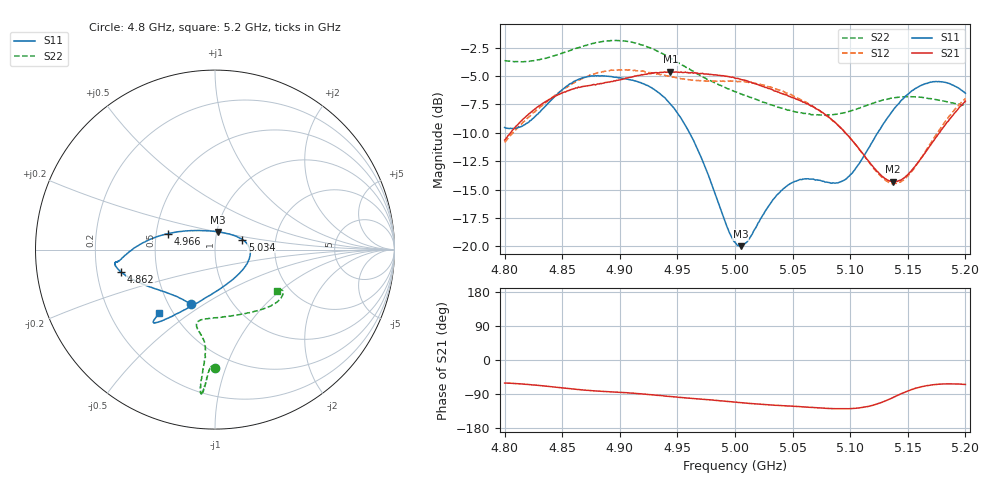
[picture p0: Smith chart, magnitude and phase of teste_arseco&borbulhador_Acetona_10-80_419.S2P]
! Network Analyzer HP8722D
! Hewlett-Packard
! Data name: Linha & Wilkinson
! Saver's name: Rodrigo Anjos
! Comments: Teste da utilização de aquisição
! continua pelo VNA HP8722D
! Time and date: 17/4/2025 17:51
!  Frequency  S11  S21  S12  S22
# HZ  S  MA R 50
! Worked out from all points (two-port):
!   401 points, 4.8 GHz to 5.2 GHz, reference 50 ohm
!   highest |S21| = -4.63 dB at 4.944 GHz (marker M1); lowest = -14.3 dB at 5.137 GHz (marker M2)
!   |S21| within 3 dB of the highest: 4.83 GHz to 5.066 GHz (235.5 MHz wide, 4.76 % of centre); 5.196109 GHz to end of sweep
!   lowest |S11| = -20.0 dB at 5.005 GHz (marker M3), VSWR 1.22, Z = 50.5 + j10.1 ohm
!   |S11| at or under -10 dB: 4.961 GHz to 5.124 GHz (163.4 MHz wide, 3.24 % of centre)
!   |S22| runs from -8.5 to -1.9 dB; largest |S21 - S12| = 0.88
!   S11 on the Smith chart (normalised r, x): 4.8 GHz: 0.64, -0.44; 4.862 GHz: 0.31, -0.11; 4.966 GHz: 0.57, +0.11; 5.034 GHz: 1.35, +0.15; 5.2 GHz: 0.42, -0.39
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4.8e9  0.3336 -113.7  0.2937 -60.9  0.287 -175.1  0.6574 -90.1
4.819e9  0.3479 -133.8  0.375 -64.2  0.3629 -173.8  0.6527 -91.8
4.862e9  0.5372 -166.4  0.4988 -77.4  0.5319 -177.1  0.7447 -94.0
4.867e9  0.5502 -168.4  0.5048 -78.7  0.5472 -178.0  0.7588 -94.2
4.901e9  0.551 -172.8  0.5427 -85.5  0.5977 175.2  0.8064 -95.6
4.934e9  0.474 -178.9  0.5805 -93.6  0.5728 171.8  0.7175 -96.0
4.944e9  0.4234 176.5  0.5869 -96.5  0.5589 171.8  0.6747 -95.8
4.966e9  0.2786 161.5  0.579 -102.1  0.5371 173.6  0.5803 -95.3
5e9  0.1042 98.4  0.5504 -111.2  0.5333 176.2  0.4796 -99.4
5.005e9  0.1001 81.3  0.5437 -112.5  0.5318 176.0  0.4691 -100.5
5.012e9  0.1073 59.4  0.5307 -114.5  0.5265 175.8  0.4556 -102.0
5.034e9  0.1626 20.1  0.4832 -119.4  0.4976 174.7  0.4155 -103.6
5.05e9  0.1911 4.1  0.4521 -122.0  0.4609 174.0  0.3946 -99.6
5.067e9  0.1979 -14.1  0.4138 -125.1  0.4165 173.5  0.38 -90.7
5.086e9  0.1899 -44.6  0.3553 -128.5  0.3537 173.5  0.3805 -76.1
5.097e9  0.1988 -67.2  0.3113 -128.7  0.3118 174.6  0.3901 -67.1
5.134e9  0.378 -117.1  0.1941 -103.5  0.1907 -156.4  0.447 -43.0
5.137e9  0.3959 -118.8  0.1925 -99.4  0.1894 -151.5  0.4501 -41.7
5.15e9  0.4671 -124.8  0.2065 -81.9  0.2041 -131.5  0.4559 -36.7
5.17e9  0.5286 -129.4  0.2802 -66.0  0.2847 -112.3  0.447 -32.1
5.184e9  0.5245 -130.7  0.3516 -63.1  0.3635 -107.3  0.4332 -31.1
5.2e9  0.472 -131.1  0.4358 -64.5  0.4479 -106.6  0.4164 -33.5
